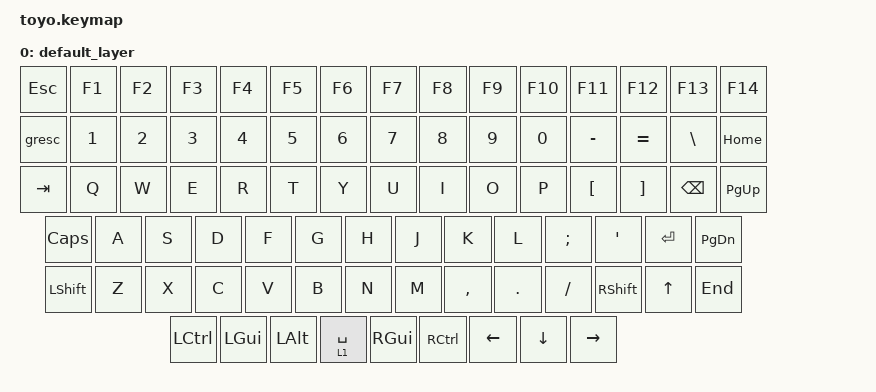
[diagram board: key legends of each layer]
/*
 * Copyright (c) 2021 Nick Winans
 *
 * SPDX-License-Identifier: MIT
 */

#include <behaviors.dtsi>
#include <dt-bindings/zmk/keys.h>
#include <dt-bindings/zmk/rgb.h>
#include <dt-bindings/zmk/bt.h>
#include <dt-bindings/zmk/outputs.h>
#include <dt-bindings/zmk/ext_power.h>

/ {
  keymap {
    compatible = "zmk,keymap";
    
    default_layer {
     bindings = <
        &kp ESC  &kp F1   &kp F2   &kp F3   &kp F4   &kp F5   &kp F6   &kp F7   &kp F8     &kp F9   &kp F10    &kp F11  &kp F12  &kp F13  &kp F14
        &gresc     &kp N1   &kp N2   &kp N3   &kp N4   &kp N5   &kp N6   &kp N7   &kp N8     &kp N9   &kp N0    &kp MINUS  &kp EQUAL  &kp BSLH    &kp HOME
        &kp TAB    &kp Q    &kp W    &kp E    &kp R    &kp T    &kp Y    &kp U    &kp I      &kp O    &kp P     &kp LBKT   &kp RBKT       &kp BSPC        &kp PG_UP
        &kp CLCK   &kp A    &kp S  &kp D    &kp F    &kp G    &kp H    &kp J    &kp K      &kp L    &kp SEMI  &kp SQT           &kp RET                   &kp PG_DN
        &kp LSHFT  &kp Z    &kp X    &kp C    &kp V    &kp B    &kp N    &kp M    &kp COMMA  &kp DOT  &kp FSLH                      &kp RSHFT   &kp UP    &kp END
        &kp LCTRL  &kp LGUI &kp LALT                                  &lt 1 SPACE                               &kp RGUI   &kp RCTRL    &kp LEFT      &kp DOWN  &kp RIGHT
      >;
    };

    
  };
};
